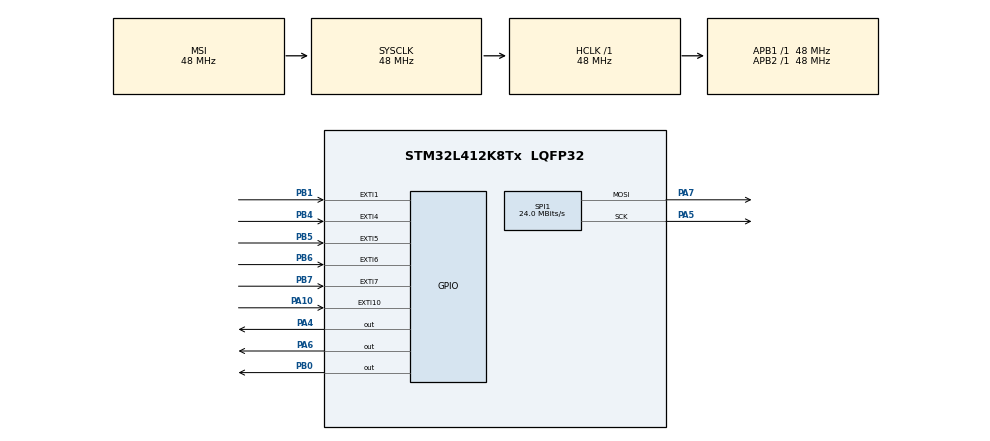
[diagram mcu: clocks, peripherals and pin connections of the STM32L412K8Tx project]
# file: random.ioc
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Mcu.Family=STM32L4
Mcu.Name=STM32L412K8Tx
Mcu.Package=LQFP32
NVIC.EXTI15_10_IRQn=true\:0\:0\:false\:false\:true\:true\:true
NVIC.EXTI1_IRQn=true\:0\:0\:false\:false\:true\:true\:true
NVIC.EXTI4_IRQn=true\:0\:0\:false\:false\:true\:true\:true
NVIC.EXTI9_5_IRQn=true\:0\:0\:false\:false\:true\:true\:true
NVIC.PriorityGroup=NVIC_PRIORITYGROUP_4
NVIC.TIM6_IRQn=true\:0\:0\:false\:false\:true\:true\:true
PA10.GPIO_ModeDefaultEXTI=GPIO_MODE_IT_FALLING
PA10.Signal=GPXTI10
PA13\ (JTMS/SWDIO).Mode=Serial_Wire
PA13\ (JTMS/SWDIO).Signal=SYS_JTMS-SWDIO
PA14\ (JTCK/SWCLK).Mode=Serial_Wire
PA14\ (JTCK/SWCLK).Signal=SYS_JTCK-SWCLK
PA4.Signal=GPIO_Output
PA5.Mode=TX_Only_Simplex_Unidirect_Master
PA5.Signal=SPI1_SCK
PA6.GPIO_PuPd=GPIO_PULLDOWN
PA6.Signal=GPIO_Output
PA7.Mode=TX_Only_Simplex_Unidirect_Master
PA7.Signal=SPI1_MOSI
PB0.Signal=GPIO_Output
PB1.GPIO_ModeDefaultEXTI=GPIO_MODE_IT_FALLING
PB1.Signal=GPXTI1
PB4\ (NJTRST).GPIO_ModeDefaultEXTI=GPIO_MODE_IT_RISING_FALLING
PB4\ (NJTRST).GPIO_PuPd=GPIO_PULLDOWN
PB4\ (NJTRST).Signal=GPXTI4
PB5.GPIO_ModeDefaultEXTI=GPIO_MODE_IT_RISING_FALLING
PB5.GPIO_PuPd=GPIO_PULLDOWN
PB5.Signal=GPXTI5
PB6.GPIO_ModeDefaultEXTI=GPIO_MODE_IT_RISING_FALLING
PB6.GPIO_PuPd=GPIO_PULLDOWN
PB6.Signal=GPXTI6
PB7.GPIO_ModeDefaultEXTI=GPIO_MODE_IT_RISING_FALLING
PB7.GPIO_PuPd=GPIO_PULLDOWN
PB7.Signal=GPXTI7
ProjectManager.HeapSize=0x200
ProjectManager.StackSize=0x400
ProjectManager.TargetToolchain=STM32CubeIDE
RCC.ADCFreq_Value=48000000
RCC.AHBFreq_Value=48000000
RCC.APB1Freq_Value=48000000
RCC.APB1TimFreq_Value=48000000
RCC.APB2Freq_Value=48000000
RCC.APB2TimFreq_Value=48000000
RCC.CortexFreq_Value=48000000
RCC.HCLKFreq_Value=48000000
RCC.HSE_VALUE=8000000
RCC.HSI48_VALUE=48000000
RCC.HSI_VALUE=16000000
RCC.LSE_VALUE=32768
RCC.MSIClockRange=RCC_MSIRANGE_11
RCC.MSI_VALUE=48000000
RCC.SYSCLKFreq_VALUE=48000000
RCC.USBFreq_Value=48000000
RCC.VCOOutputFreq_Value=384000000
SPI1.CalculateBaudRate=24.0 MBits/s
SPI1.DataSize=SPI_DATASIZE_8BIT
SPI1.Direction=SPI_DIRECTION_2LINES
SPI1.Mode=SPI_MODE_MASTER
SPI1.NSSPMode=SPI_NSS_PULSE_DISABLE
SPI1.VirtualType=VM_MASTER
TIM6.AutoReloadPreload=TIM_AUTORELOAD_PRELOAD_ENABLE
TIM6.Period=6000
TIM6.Prescaler=500
VP_RNG_VS_RNG.Mode=RNG_Activate
VP_TIM6_VS_ClockSourceINT.Mode=Enable_Timer
board=custom

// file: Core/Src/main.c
/* USER CODE BEGIN Header */
/**
  ******************************************************************************
  * @file           : main.c
  * @brief          : Main program body
  ******************************************************************************
  * @attention
  *
  * Copyright (c) 2022 STMicroelectronics.
  * All rights reserved.
  *
  * This software is licensed under terms that can be found in the LICENSE file
  * in the root directory of this software component.
  * If no LICENSE file comes with this software, it is provided AS-IS.
  *
  ******************************************************************************
  */
/* USER CODE END Header */
#include "main.h"

/* USER CODE BEGIN Includes */
#include "event_handler.hpp"
/* USER CODE END Includes */

RNG_HandleTypeDef hrng;

SPI_HandleTypeDef hspi1;

TIM_HandleTypeDef htim6;

/* USER CODE BEGIN PV */
//! event handler is global in order to be called by interrupt routines
tkrandom::EventHandler* event_handler = nullptr;
/* USER CODE END PV */

void SystemClock_Config(void);
static void MX_GPIO_Init(void);
static void MX_RNG_Init(void);
static void MX_SPI1_Init(void);
static void MX_TIM6_Init(void);

int main(void)
{

  /* MCU Configuration--------------------------------------------------------*/

  /* Reset of all peripherals, Initializes the Flash interface and the Systick. */
  HAL_Init();

  /* Configure the system clock */
  SystemClock_Config();

  /* Initialize all configured peripherals */
  MX_GPIO_Init();
  MX_RNG_Init();
  MX_SPI1_Init();
  MX_TIM6_Init();
  /* USER CODE BEGIN 2 */
  tkrandom::PcbStatusLed* const pcb_status_led =
      new tkrandom::PcbStatusLed(GPIOB, GPIO_PIN_0);
  tkrandom::Transmitter* const transmitter =
      new tkrandom::Transmitter(&hspi1, GPIOA, GPIO_PIN_4, GPIOA, GPIO_PIN_6);
  tkrandom::Generator* const generator =
      new tkrandom::Generator(&hrng);
  tkrandom::RngHandler* const rng_handler =
      new tkrandom::RngHandler(*generator, *transmitter);
  tkrandom::DistributionPins* const distribution_pins =
      new tkrandom::DistributionPins();
  if ((pcb_status_led == nullptr) ||
      (generator == nullptr) ||
      (rng_handler == nullptr) ||
      (transmitter == nullptr) ||
      (distribution_pins == nullptr)) {
    return -1;
  }
  distribution_pins->gpio_port_distribution_1 = GPIOB;
  distribution_pins->pin_distribution_1 = GPIO_PIN_4;
  distribution_pins->gpio_port_distribution_2 = GPIOB;
  distribution_pins->pin_distribution_2 = GPIO_PIN_5;
  distribution_pins->gpio_port_distribution_3 = GPIOB;
  distribution_pins->pin_distribution_3 = GPIO_PIN_6;
  distribution_pins->gpio_port_distribution_4 = GPIOB;
  distribution_pins->pin_distribution_4 = GPIO_PIN_7;
  tkrandom::Animation* const animation = new tkrandom::Animation(*transmitter);
  event_handler = new tkrandom::EventHandler(*pcb_status_led,
                                             *rng_handler,
                                             *animation,
                                             *distribution_pins);
  if ((event_handler != nullptr) && (animation != nullptr)) {
    event_handler->Init();
  }
  else {
    return -1;
  }
  /* USER CODE END 2 */

  /* Infinite loop */
  /* USER CODE BEGIN WHILE */
  while (1)
  {
    event_handler->Run();
    /* USER CODE END WHILE */

  }
}

void SystemClock_Config(void)
{
  RCC_OscInitTypeDef RCC_OscInitStruct = {0};
  RCC_ClkInitTypeDef RCC_ClkInitStruct = {0};

  /** Configure the main internal regulator output voltage
  */
  if (HAL_PWREx_ControlVoltageScaling(PWR_REGULATOR_VOLTAGE_SCALE1) != HAL_OK)
  {
    Error_Handler();
  }
  /** Initializes the RCC Oscillators according to the specified parameters
  * in the RCC_OscInitTypeDef structure.
  */
  RCC_OscInitStruct.OscillatorType = RCC_OSCILLATORTYPE_MSI;
  RCC_OscInitStruct.MSIState = RCC_MSI_ON;
  RCC_OscInitStruct.MSICalibrationValue = 0;
  RCC_OscInitStruct.MSIClockRange = RCC_MSIRANGE_11;
  RCC_OscInitStruct.PLL.PLLState = RCC_PLL_NONE;
  if (HAL_RCC_OscConfig(&RCC_OscInitStruct) != HAL_OK)
  {
    Error_Handler();
  }
  /** Initializes the CPU, AHB and APB buses clocks
  */
  RCC_ClkInitStruct.ClockType = RCC_CLOCKTYPE_HCLK|RCC_CLOCKTYPE_SYSCLK
                              |RCC_CLOCKTYPE_PCLK1|RCC_CLOCKTYPE_PCLK2;
  RCC_ClkInitStruct.SYSCLKSource = RCC_SYSCLKSOURCE_MSI;
  RCC_ClkInitStruct.AHBCLKDivider = RCC_SYSCLK_DIV1;
  RCC_ClkInitStruct.APB1CLKDivider = RCC_HCLK_DIV1;
  RCC_ClkInitStruct.APB2CLKDivider = RCC_HCLK_DIV1;

  if (HAL_RCC_ClockConfig(&RCC_ClkInitStruct, FLASH_LATENCY_2) != HAL_OK)
  {
    Error_Handler();
  }
}

static void MX_RNG_Init(void)
{

  hrng.Instance = RNG;
  if (HAL_RNG_Init(&hrng) != HAL_OK)
  {
    Error_Handler();
  }

}

static void MX_SPI1_Init(void)
{

  /* SPI1 parameter configuration*/
  hspi1.Instance = SPI1;
  hspi1.Init.Mode = SPI_MODE_MASTER;
  hspi1.Init.Direction = SPI_DIRECTION_2LINES;
  hspi1.Init.DataSize = SPI_DATASIZE_8BIT;
  hspi1.Init.CLKPolarity = SPI_POLARITY_LOW;
  hspi1.Init.CLKPhase = SPI_PHASE_1EDGE;
  hspi1.Init.NSS = SPI_NSS_SOFT;
  hspi1.Init.BaudRatePrescaler = SPI_BAUDRATEPRESCALER_2;
  hspi1.Init.FirstBit = SPI_FIRSTBIT_MSB;
  hspi1.Init.TIMode = SPI_TIMODE_DISABLE;
  hspi1.Init.CRCCalculation = SPI_CRCCALCULATION_DISABLE;
  hspi1.Init.CRCPolynomial = 7;
  hspi1.Init.CRCLength = SPI_CRC_LENGTH_DATASIZE;
  hspi1.Init.NSSPMode = SPI_NSS_PULSE_DISABLE;
  if (HAL_SPI_Init(&hspi1) != HAL_OK)
  {
    Error_Handler();
  }

}

static void MX_TIM6_Init(void)
{

  TIM_MasterConfigTypeDef sMasterConfig = {0};

  htim6.Instance = TIM6;
  htim6.Init.Prescaler = 500;
  htim6.Init.CounterMode = TIM_COUNTERMODE_UP;
  htim6.Init.Period = 6000;
  htim6.Init.AutoReloadPreload = TIM_AUTORELOAD_PRELOAD_ENABLE;
  if (HAL_TIM_Base_Init(&htim6) != HAL_OK)
  {
    Error_Handler();
  }
  sMasterConfig.MasterOutputTrigger = TIM_TRGO_RESET;
  sMasterConfig.MasterSlaveMode = TIM_MASTERSLAVEMODE_DISABLE;
  if (HAL_TIMEx_MasterConfigSynchronization(&htim6, &sMasterConfig) != HAL_OK)
  {
    Error_Handler();
  }
  /* USER CODE BEGIN TIM6_Init 2 */
  HAL_TIM_GenerateEvent(&htim6, TIM_EVENTSOURCE_UPDATE);
  HAL_NVIC_SetPriority(TIM6_IRQn, 0, 0);
  HAL_NVIC_EnableIRQ(TIM6_IRQn);
  HAL_TIM_Base_Start_IT(&htim6);
  /* USER CODE END TIM6_Init 2 */

}

static void MX_GPIO_Init(void)
{
  GPIO_InitTypeDef GPIO_InitStruct = {0};

  /* GPIO Ports Clock Enable */
  __HAL_RCC_GPIOA_CLK_ENABLE();
  __HAL_RCC_GPIOB_CLK_ENABLE();

  /*Configure GPIO pin Output Level */
  HAL_GPIO_WritePin(GPIOA, GPIO_PIN_4|GPIO_PIN_6, GPIO_PIN_RESET);

  /*Configure GPIO pin Output Level */
  HAL_GPIO_WritePin(GPIOB, GPIO_PIN_0, GPIO_PIN_RESET);

  /*Configure GPIO pin : PA4 */
  GPIO_InitStruct.Pin = GPIO_PIN_4;
  GPIO_InitStruct.Mode = GPIO_MODE_OUTPUT_PP;
  GPIO_InitStruct.Pull = GPIO_NOPULL;
  GPIO_InitStruct.Speed = GPIO_SPEED_FREQ_LOW;
  HAL_GPIO_Init(GPIOA, &GPIO_InitStruct);

  /*Configure GPIO pin : PA6 */
  GPIO_InitStruct.Pin = GPIO_PIN_6;
  GPIO_InitStruct.Mode = GPIO_MODE_OUTPUT_PP;
  GPIO_InitStruct.Pull = GPIO_PULLDOWN;
  GPIO_InitStruct.Speed = GPIO_SPEED_FREQ_LOW;
  HAL_GPIO_Init(GPIOA, &GPIO_InitStruct);

  /*Configure GPIO pin : PB0 */
  GPIO_InitStruct.Pin = GPIO_PIN_0;
  GPIO_InitStruct.Mode = GPIO_MODE_OUTPUT_PP;
  GPIO_InitStruct.Pull = GPIO_NOPULL;
  GPIO_InitStruct.Speed = GPIO_SPEED_FREQ_LOW;
  HAL_GPIO_Init(GPIOB, &GPIO_InitStruct);

  /*Configure GPIO pin : PB1 */
  GPIO_InitStruct.Pin = GPIO_PIN_1;
  GPIO_InitStruct.Mode = GPIO_MODE_IT_FALLING;
  GPIO_InitStruct.Pull = GPIO_NOPULL;
  HAL_GPIO_Init(GPIOB, &GPIO_InitStruct);

  /*Configure GPIO pin : PA10 */
  GPIO_InitStruct.Pin = GPIO_PIN_10;
  GPIO_InitStruct.Mode = GPIO_MODE_IT_FALLING;
  GPIO_InitStruct.Pull = GPIO_NOPULL;
  HAL_GPIO_Init(GPIOA, &GPIO_InitStruct);

  /*Configure GPIO pins : PB4 PB5 PB6 PB7 */
  GPIO_InitStruct.Pin = GPIO_PIN_4|GPIO_PIN_5|GPIO_PIN_6|GPIO_PIN_7;
  GPIO_InitStruct.Mode = GPIO_MODE_IT_RISING_FALLING;
  GPIO_InitStruct.Pull = GPIO_PULLDOWN;
  HAL_GPIO_Init(GPIOB, &GPIO_InitStruct);

  /* EXTI interrupt init*/
  HAL_NVIC_SetPriority(EXTI1_IRQn, 0, 0);
  HAL_NVIC_EnableIRQ(EXTI1_IRQn);

  HAL_NVIC_SetPriority(EXTI4_IRQn, 0, 0);
  HAL_NVIC_EnableIRQ(EXTI4_IRQn);

  HAL_NVIC_SetPriority(EXTI9_5_IRQn, 0, 0);
  HAL_NVIC_EnableIRQ(EXTI9_5_IRQn);

  HAL_NVIC_SetPriority(EXTI15_10_IRQn, 0, 0);
  HAL_NVIC_EnableIRQ(EXTI15_10_IRQn);

}

/* USER CODE BEGIN 4 */
void HAL_TIM_PeriodElapsedCallback(TIM_HandleTypeDef *htim) {
  event_handler->SignalEvent(tkrandom::Event::kTimerElapsed);
}

void HAL_GPIO_EXTI_Callback(uint16_t gpio_pin) {
  // EXTI line for IN_1
  if (gpio_pin == GPIO_PIN_1) {
    event_handler->SignalEvent(tkrandom::Event::kGate1Triggered);
  }
  // EXTI line for IN_2
  if (gpio_pin == GPIO_PIN_10) {
    event_handler->SignalEvent(tkrandom::Event::kGate2Triggered);
  }
  // EXTI lines for distribution switches (PB4, PB5, PB6, PB7)
  // hint: only one collective EXTI line for pin 5, 6 and 7
  if ((gpio_pin == GPIO_PIN_4) ||
      (gpio_pin == GPIO_PIN_5) ||
      (gpio_pin == GPIO_PIN_6) ||
      (gpio_pin == GPIO_PIN_7)) {
    event_handler->SignalEvent(tkrandom::Event::kDistributionChanged);
  }
}
/* USER CODE END 4 */

void Error_Handler(void)
{
  /* USER CODE BEGIN Error_Handler_Debug */
  /* User can add his own implementation to report the HAL error return state */
  event_handler->SignalEvent(tkrandom::Event::kErrorOccurred);
  /* USER CODE END Error_Handler_Debug */
}
